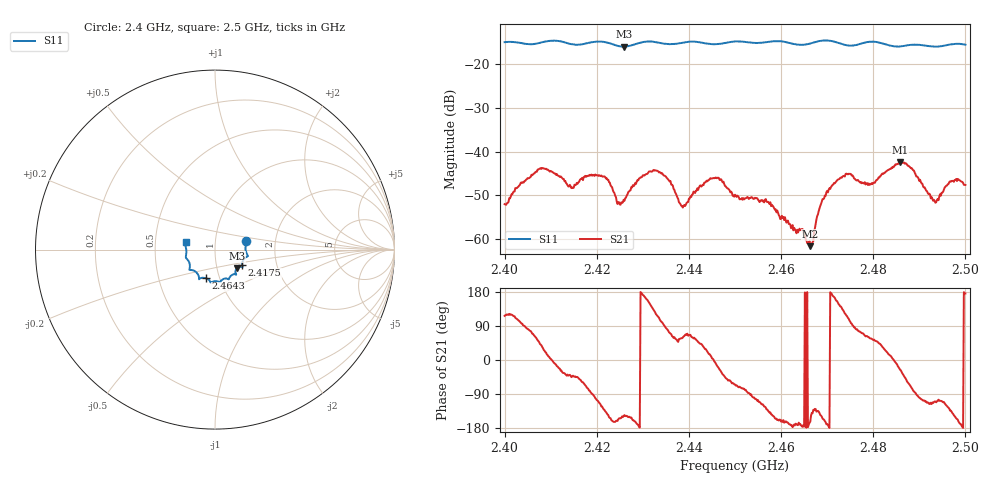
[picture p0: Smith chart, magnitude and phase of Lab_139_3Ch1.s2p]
# Hz S RI R 50
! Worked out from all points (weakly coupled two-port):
!   601 points, 2.4 GHz to 2.5 GHz, reference 50 ohm
!   highest |S21| = -42.43 dB at 2.4858 GHz (marker M1); lowest = -61.7 dB at 2.4663 GHz (marker M2)
!   lowest |S11| = -16.0 dB at 2.4258 GHz (marker M3), VSWR 1.38, Z = 62.2 - j13.2 ohm
!   |S11| at or under -10 dB: start of sweep to end of sweep
!   S12 and S22 are empty: the file has one direction only
!   S11 on the Smith chart (normalised r, x): 2.4 GHz: 1.41, +0.14; 2.4175 GHz: 1.33, -0.23; 2.4643 GHz: 0.86, -0.28; 2.5 GHz: 0.72, +0.06
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2.4e9  0.1732 0.0474  -0.00111 0.00224  0 0  0 0
2.407667e9  0.1757 -0.0182  0.00475 0.00432  0 0  0 0
2.414333e9  0.1636 -0.0498  0.00296 -0.00265  0 0  0 0
2.416667e9  0.1519 -0.0749  0.00271 -0.00405  0 0  0 0
2.4175e9  0.1507 -0.0844  0.00209 -0.00485  0 0  0 0
2.422e9  0.1515 -0.0955  -0.00362 -0.00332  0 0  0 0
2.425833e9  0.1211 -0.1034  -0.00239 -0.00148  0 0  0 0
2.433333e9  0.1127 -0.1371  -0.0024 0.00544  0 0  0 0
2.438667e9  0.0797 -0.1582  0.00117 0.00197  0 0  0 0
2.445167e9  0.0536 -0.1615  0.00494 0.000283  0 0  0 0
2.45e9  0.0281 -0.1808  0.00137 -0.0029  0 0  0 0
2.457167e9  -0.0158 -0.18  -0.00184 -0.00192  0 0  0 0
2.464333e9  -0.0499 -0.1596  -0.00124 -0.000172  0 0  0 0
2.466333e9  -0.0731 -0.1573  -0.000789 -0.000242  0 0  0 0
2.466667e9  -0.0763 -0.158  -0.000655 -0.000553  0 0  0 0
2.468667e9  -0.0878 -0.1641  -0.00209 -0.00137  0 0  0 0
2.472e9  -0.0885 -0.1555  -0.0042 0.00183  0 0  0 0
2.483333e9  -0.1398 -0.0891  0.00597 0.00159  0 0  0 0
2.485833e9  -0.1474 -0.0631  0.00681 -0.00329  0 0  0 0
2.493333e9  -0.1593 -0.00985  -0.000904 -0.00256  0 0  0 0
2.496833e9  -0.1672 0.0268  -0.00311 -0.00329  0 0  0 0
2.5e9  -0.1625 0.0425  -0.00414 0.000331  0 0  0 0
